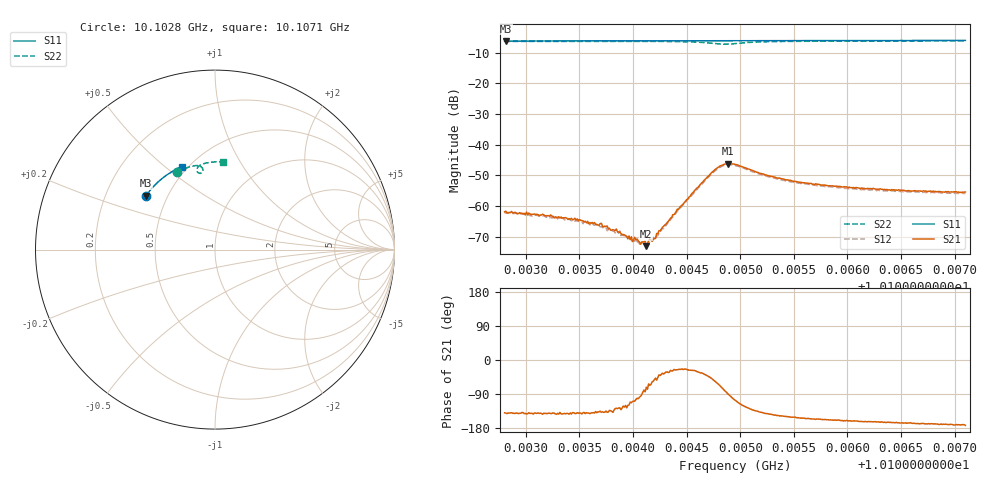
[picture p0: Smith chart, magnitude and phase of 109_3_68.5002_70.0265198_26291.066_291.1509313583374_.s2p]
#  HZ  S  RI  R  50.00
! Rohde & Schwarz Vector Network Analyzer
! Rohde-Schwarz,ZNB20-2Port,1311601062101988,3.16
! Created: UTC 3/20/2024, 4:53:24 PM
! freq[Hz]  re:S11  im:S11  re:S21  im:S21  re:S12  im:S12  re:S22  im:S22
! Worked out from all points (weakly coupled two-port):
!   401 points, 10.1028 GHz to 10.1071 GHz, reference 50 ohm
!   highest |S21| = -46.16 dB at 10.10489 GHz (marker M1); lowest = -73.1 dB at 10.10412 GHz (marker M2)
!   lowest |S11| = -6.2 dB at 10.10281 GHz (marker M3), VSWR 2.90, Z = 19 + j15 ohm
!   |S11| at or under -10 dB: nowhere
!   |S22| runs from -7.3 to -6.2 dB; largest |S21 - S12| = 0.00049
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1.0102802e10  -0.3848 0.2997  -0.000611 -0.000523  -0.000546 -0.000553  -0.2097 0.4319
1.0102812e10  -0.3843 0.3003  -0.000629 -0.000528  -0.000532 -0.000552  -0.2093 0.4324
1.0103145e10  -0.3724 0.3166  -0.000555 -0.000445  -0.000506 -0.000477  -0.1893 0.4422
1.0103522e10  -0.3579 0.3343  -0.000458 -0.000353  -0.000408 -0.000385  -0.1658 0.4523
1.0103715e10  -0.3502 0.3433  -0.000341 -0.000322  -0.000296 -0.000333  -0.1532 0.4572
1.010379e10  -0.3471 0.3467  -0.000279 -0.00029  -0.000273 -0.000303  -0.148 0.4589
1.0103855e10  -0.3446 0.3495  -0.000236 -0.000298  -0.000228 -0.000304  -0.1437 0.4604
1.0103973e10  -0.3395 0.3548  -0.000102 -0.000264  -0.000112 -0.000263  -0.1352 0.4627
1.0104037e10  -0.3368 0.3577  -5.53e-05 -0.000285  -3.29e-05 -0.00026  -0.1304 0.464
1.010407e10  -0.3355 0.3589  -2.47e-05 -0.000237  -1.62e-06 -0.000227  -0.1279 0.4646
1.0104123e10  -0.3332 0.3614  6.93e-05 -0.00021  7.06e-05 -0.00021  -0.1239 0.4656
1.0104188e10  -0.3305 0.3642  0.000159 -0.000236  0.000192 -0.000241  -0.1188 0.4665
1.0104242e10  -0.3281 0.3665  0.000307 -0.000252  0.00028 -0.000217  -0.1142 0.4671
1.0104424e10  -0.32 0.3741  0.000802 -0.000373  0.000824 -0.000295  -0.0972 0.4678
1.0104715e10  -0.3069 0.3859  0.00228 -0.00228  0.00236 -0.00201  -0.067 0.4475
1.0104801e10  -0.3029 0.389  0.00183 -0.00394  0.00208 -0.00359  -0.0703 0.4312
1.0104886e10  -0.299 0.3922  3.8e-05 -0.00492  0.000455 -0.00471  -0.0871 0.4252
1.0104951e10  -0.2963 0.3947  -0.00131 -0.00457  -0.000889 -0.00451  -0.0976 0.4324
1.0105252e10  -0.2819 0.4063  -0.00246 -0.00197  -0.00222 -0.00208  -0.0862 0.468
1.0105671e10  -0.2612 0.4211  -0.00207 -0.000936  -0.00192 -0.00109  -0.0531 0.4814
1.0106391e10  -0.2241 0.4439  -0.00176 -0.000481  -0.00166 -0.000605  -0.0028 0.4883
1.01071e10  -0.1856 0.4629  -0.00167 -0.000223  -0.00154 -0.000388  0.0441 0.4886
